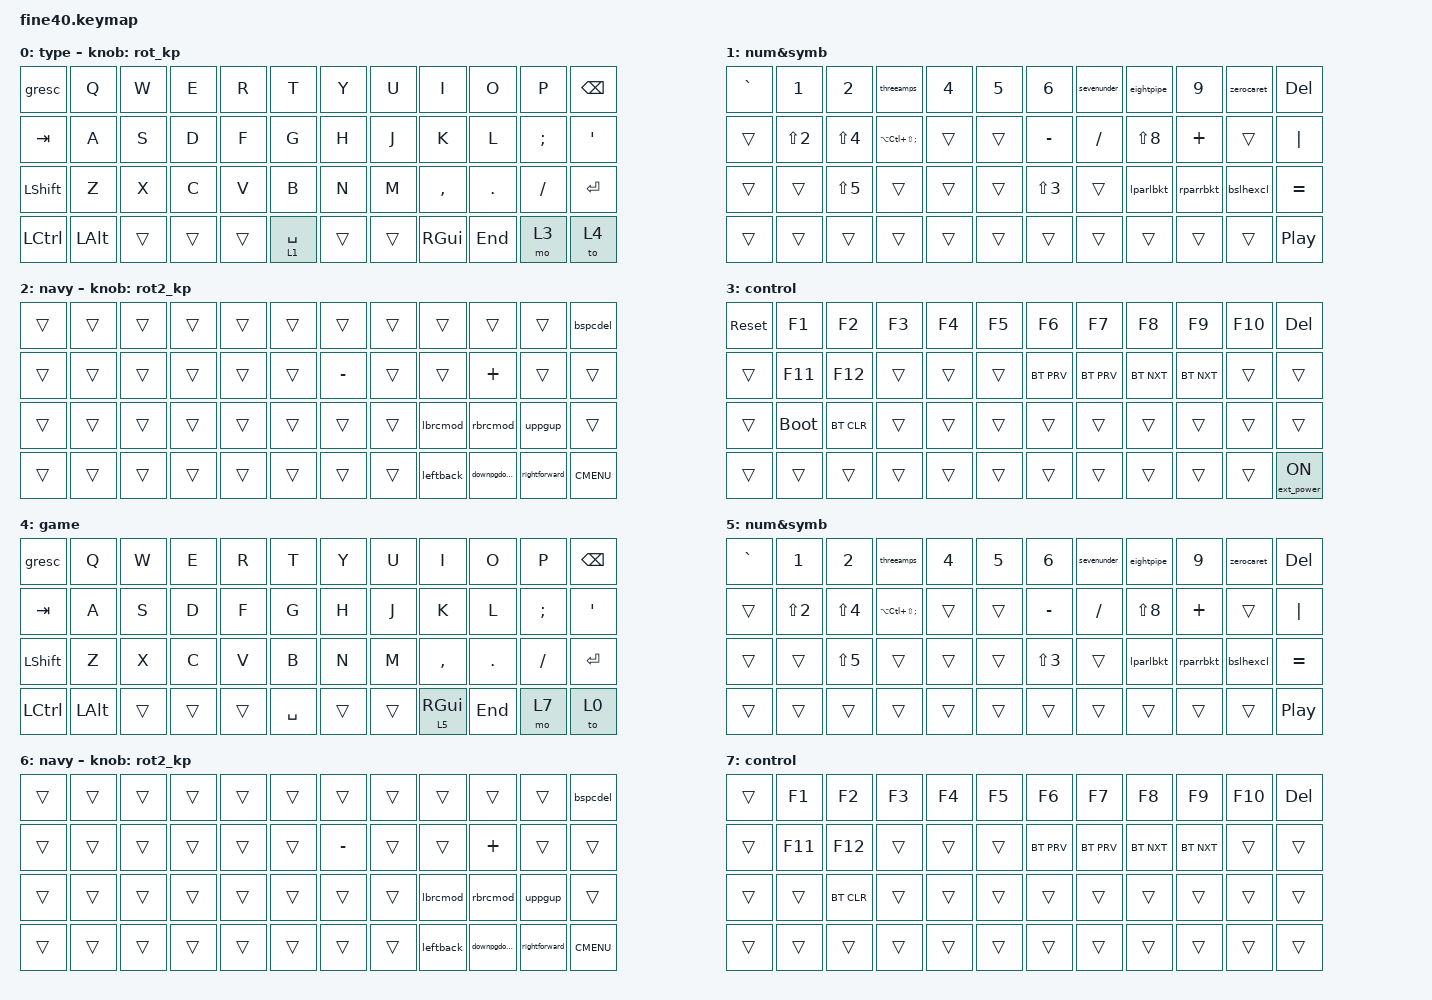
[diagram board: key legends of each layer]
/*
 * Aidan Smith (2021)
 *
 * SPDX-License-Identifier: MIT
 */

#include <behaviors.dtsi>
#include <dt-bindings/zmk/keys.h>
#include <dt-bindings/zmk/bt.h>
#include <dt-bindings/zmk/ext_power.h>

/ {
    behaviors {
        gresc: grave_escape {
            compatible = "zmk,behavior-mod-morph";
            #binding-cells = <0>;
            bindings = <&kp ESC>, <&kp GRAVE>;
            mods = <(MOD_LGUI|MOD_LSFT|MOD_RGUI|MOD_RSFT)>;
        };
    };
};

/ {
    behaviors {
        leftback: left_back {
            compatible = "zmk,behavior-mod-morph";
            #binding-cells = <0>;
            bindings = <&kp LEFT>, <&kp C_AC_BACK>;
            mods = <(MOD_LCTL)>;
        };
    };
};

/ {
    behaviors {
        rightforward: right_forward {
            compatible = "zmk,behavior-mod-morph";
            #binding-cells = <0>;
            bindings = <&kp RIGHT>, <&kp C_AC_FORWARD>;
            mods = <(MOD_LCTL)>;
        };
    };
};

/ {
    behaviors {
        uppgup: up_pgup {
            compatible = "zmk,behavior-mod-morph";
            #binding-cells = <0>;
            bindings = <&kp UP>, <&kp PG_UP>;
            mods = <(MOD_LCTL)>;
        };
    };
};

/ {
    behaviors {
        downpgdown: down_pgdown {
            compatible = "zmk,behavior-mod-morph";
            #binding-cells = <0>;
            bindings = <&kp DOWN>, <&kp PG_DN>;
            mods = <(MOD_LCTL)>;
        };
    };
};

/ {
    behaviors {
        threeamps: three_amps {
            compatible = "zmk,behavior-mod-morph";
            #binding-cells = <0>;
            bindings = <&kp N3>, <&kp AMPS>;
            mods = <(MOD_LSFT)>;
        };
    };
};

/ {
    behaviors {
        sevenunder: seven_under {
            compatible = "zmk,behavior-mod-morph";
            #binding-cells = <0>;
            bindings = <&kp N7>, <&kp UNDER>;
            mods = <(MOD_LSFT)>;
        };
    };
};

/ {
    behaviors {
        eightpipe: eight_pipe {
            compatible = "zmk,behavior-mod-morph";
            #binding-cells = <0>;
            bindings = <&kp N8>, <&kp PIPE>;
            mods = <(MOD_LSFT)>;
        };
    };
};

/ {
    behaviors {
        zerocaret: zero_caret {
            compatible = "zmk,behavior-mod-morph";
            #binding-cells = <0>;
            bindings = <&kp N0>, <&kp CARET>;
            mods = <(MOD_LSFT)>;
        };
    };
};

/ {
    behaviors {
        bspcdel: bspc_del {
            compatible = "zmk,behavior-mod-morph";
            #binding-cells = <0>;
            bindings = <&kp BSPC>, <&kp DEL>;
            mods = <(MOD_LSFT)>;
        };
    };
};

/ {
    behaviors {
        lparlbkt: lpar_lbkt {
            compatible = "zmk,behavior-mod-morph";
            #binding-cells = <0>;
            bindings = <&kp LPAR>, <&kp LBKT>;
            mods = <(MOD_LSFT)>;
        };
    };
};

/ {
    behaviors {
        rparrbkt: rpar_rbkt {
            compatible = "zmk,behavior-mod-morph";
            #binding-cells = <0>;
            bindings = <&kp RPAR>, <&kp RBKT>;
            mods = <(MOD_LSFT)>;
        };
    };
};

/ {
    behaviors {
        bslhexcl: bslh_excl {
            compatible = "zmk,behavior-mod-morph";
            #binding-cells = <0>;
            bindings = <&kp BSLH>, <&kp EXCL>;
            mods = <(MOD_LSFT)>;
        };
    };
};

/ {
    behaviors {
        lbrcmod: lbrc_with_lctl {
            compatible = "zmk,behavior-mod-morph";
            #binding-cells = <0>;
            bindings = <&kp LBRC>, <&kp LBRC>;
            mods = <(MOD_LSFT|MOD_LCTL)>;
        };
    };
};

/ {
    behaviors {
        rbrcmod: rbrc_with_lctl {
            compatible = "zmk,behavior-mod-morph";
            #binding-cells = <0>;
            bindings = <&kp RBRC>, <&kp RBRC>;
            mods = <(MOD_LSFT|MOD_LCTL)>;
        };
    };
};

/ {
    behaviors {
        vldnlalstab: voldown_altshifttab {
            compatible = "zmk,behavior-mod-morph";
            #binding-cells = <0>;
            bindings = <&kp C_VOL_DN>, <&kp LS(TAB)>;
            mods = <(MOD_LALT|MOD_LCTL)>;
            keep-mods = <(MOD_LCTL)>;
        };
    };
};

/ {
    behaviors {
        vluplatab: volup_alttab {
            compatible = "zmk,behavior-mod-morph";
            #binding-cells = <0>;
            bindings = <&kp C_VOL_UP>, <&kp TAB>;
            mods = <(MOD_LALT|MOD_LCTL)>;
            keep-mods = <(MOD_LCTL)>;
        };
    };
};

/ {
    behaviors {
        vldnlalstab2: voldown_altshifttab2 {
            compatible = "zmk,behavior-mod-morph";
            #binding-cells = <0>;
            bindings = <&kp LS(TAB)>, <&kp LS(TAB)>;
            mods = <(MOD_LCTL)>;
            keep-mods = <(MOD_LCTL)>;
        };
    };
};

/ {
    behaviors {
        vluplatab2: volup_alttab2 {
            compatible = "zmk,behavior-mod-morph";
            #binding-cells = <0>;
            bindings = <&kp TAB>, <&kp TAB>;
            mods = <(MOD_LCTL)>;
            keep-mods = <(MOD_LCTL)>;
        };
    };
};

// {
//    behaviors {
//        spacelayer5: space_layer5 {
//            compatible = "zmk,behavior-mod-morph";
//            #binding-cells = <0>;
//            bindings = <&kp SPACE>, <&mo 5>;
//            mods = <(MOD_LALT)>;
//        };
//    };
//};

// {
//    behaviors {
//        spacelayers: space_layer1_to_layer2 {
//            compatible = "zmk,behavior-mod-morph";
//            #binding-cells = <0>;
//            bindings = <&lt 1 SPACE>, <&mo 2>;
//            mods = <(MOD_LALT)>;
//        };
//    };
//};

// {
//    behaviors {
//        tdaltlayer6: tap_dance_alt_layer6 {
//            compatible = "zmk,behavior-tap-dance";
//            #binding-cells = <0>;
//            tapping-term-ms = <200>;
//            bindings = <&kp LALT>, <&mo 6>;
//        };
//    };
//};

/ {
    combos {
        compatible = "zmk,combos";
        combo_layer1 {
            timeout-ms = <50>;
            key-positions = <37 41>;
	    slow-release;
	    layers = <0>;
            bindings = <&mo 2>;
        };
    };
};

/ {
    combos {
        compatible = "zmk,combos";
        combo_layer5 {
            timeout-ms = <50>;
            key-positions = <37 41>;
	    slow-release;
	    layers = <4>;
            bindings = <&mo 6>;
        };
    };
};

/ {
	behaviors {
        	rot_kp: sensor_rotate_kp {
            	compatible = "zmk,behavior-sensor-rotate";
            	#sensor-binding-cells = <0>;
            	bindings = <&vldnlalstab>, <&vluplatab>;
        	};
    	};

	behaviors {
        	rot2_kp: sensor_rotate2_kp {
            	compatible = "zmk,behavior-sensor-rotate";
            	#sensor-binding-cells = <0>;
            	bindings = <&vldnlalstab2>, <&vluplatab2>;
        	};
    	};


	keymap {
		compatible = "zmk,keymap";

		default_layer_0 {
			   label = "type";
				// -----------------------------------------------------------------------------------------
				// |  ESC  |  Q   |  W   |  E   |  R   |  T   |   Y   |  U    |  I   |  O   |   P   | BSPC  |
				// |  TAB  |  A   |  S   |  D   |  F   |  G   |   H   |  J    |  K   |  L   |   ;   |  '    |
				// | SHIFT |  Z   |  X   |  C   |  V   |  B   |   N   |  M    |  ,   |  .   |   /   |  RET  |
				// | LCTL  | LGUI | LALT |  \   | LOWR | SPC  |  RAIS | LARW | DARW | UARW  |  RARW |  P/P  |

				// -----------------------------------------------------------------------------------------
				// |  ESC  |  Q   |  W   |  E   |  R   |  T   |   B   |  V    |  C   |  X   |   Z   |  LSFT |
				// |   Y   |  U   |  I   |  O   |  P   | BSPC |  ENT  |  /    |  .   |  ,   |   M   |   N   |
				// |  TAB  |  A   |  S   |  D   |  F   |  G   |  SPC  |  LOWR |  \   | LALT | LGUI  |  LCTL |
				// |   H   |  J   |  K   |  L   | SCLN | QUTE |  P/P  | RARW | UARW | DARW  |  LARW | RAISE |


			bindings = <
				&gresc    &kp Q    &kp W    &kp E    &kp R  &kp T        &kp Y  &kp U    &kp I     &kp O    &kp P     &kp BSPC
				&kp TAB	  &kp A    &kp S    &kp D    &kp F  &kp G        &kp H  &kp J    &kp K     &kp L    &kp SEMI  &kp SQT
				&kp LSHFT &kp Z    &kp X    &kp C    &kp V  &kp B        &kp N  &kp M    &kp COMMA &kp DOT  &kp FSLH  &kp RET
			     	&kp LCTL  &kp LALT &trans   &trans   &trans &lt 1 SPACE  &trans &trans   &kp RGUI  &kp END  &mo 3     &to 4
			    // 	&kp LCTL  &kp LALT &trans   &trans   &trans &spacelayers &trans &trans   &kp RGUI  &kp END  &mo 3     &to 4
			>;

			// sensor-bindings = <&inc_dec_kp C_VOL_DN C_VOL_UP>;
			sensor-bindings = <&rot_kp>;
			// sensor-bindings = <&inc_dec_kp LS(TAB) TAB>;
		};

		numsymb_1 {
			label = "num&symb";
			bindings = <
				// &kp GRAVE &kp N1 &kp N2     &kp N3 &kp N4 &kp N5 &kp N6    &kp N7    &kp N8     &kp N9     &kp N0     &kp DEL
				// &trans    &trans &trans     &trans &trans &trans &kp MINUS &kp FSLH  &kp LS(N8) &kp PLUS   &trans     &kp BSLH
				// &trans    &trans &trans     &trans &trans &trans &trans    &trans    &kp LS(N9) &kp LS(N0) &kp EXCL   &kp EQUAL
				// &trans    &trans &trans     &trans &trans &trans &trans    &trans    &trans     &trans     &trans     &kp C_PP
				&kp GRAVE &kp N1     &kp N2     &threeamps           &kp N4 &kp N5 &kp N6     &sevenunder &eightpipe &kp N9    &zerocaret &kp DEL
				&trans    &kp LS(N2) &kp LS(N4) &kp LA(LC(LS(SEMI))) &trans &trans &kp MINUS  &kp FSLH    &kp LS(N8) &kp PLUS  &trans     &kp PIPE
				&trans    &trans     &kp LS(N5) &trans               &trans &trans &kp LS(N3) &trans      &lparlbkt  &rparrbkt &bslhexcl  &kp EQUAL
				&trans    &trans     &trans     &trans               &trans &trans &trans     &trans      &trans     &trans    &trans     &kp C_PP
			>;

		};

		nav_2 {
			label = "navy";
			bindings = <
				// &kp LS(GRAVE)	&kp LS(N1)  &trans     &kp LS(N7) &trans        &trans     &trans     &kp UNDER  &trans        &trans       &kp LS(N6)     &bspcdel
				// &trans  	&kp LS(N2)  &kp LS(N4) &trans     &trans        &trans     &kp MINUS  &kp FSLH   &kp LS(N8)    &kp PLUS     &trans         &kp PIPE
				// &trans  	&trans      &kp LS(N5) &trans     &trans        &trans     &kp LS(N3) &trans     &kp LBKT      &kp RBKT     &uppgup        &kp EQUAL
				// &trans  	&trans      &trans     &trans     &trans        &trans     &trans     &trans     &leftback     &downpgdown  &rightforward  &kp K_CMENU
				&trans &trans &trans &trans &trans &trans &trans    &trans &trans    &trans      &trans        &bspcdel
				&trans &trans &trans &trans &trans &trans &kp MINUS &trans &trans    &kp PLUS    &trans        &trans
				&trans &trans &trans &trans &trans &trans &trans    &trans &lbrcmod  &rbrcmod    &uppgup       &trans
				&trans &trans &trans &trans &trans &trans &trans    &trans &leftback &downpgdown &rightforward &kp K_CMENU

			>;

			sensor-bindings = <&rot2_kp>;
		};

		control_3 {
			label = "control";
			bindings = <
				&sys_reset &kp F1       &kp F2     &kp F3     &kp F4     &kp F5  &kp F6     &kp F7     &kp F8     &kp F9     &kp F10 &kp DEL
				&trans 	   &kp F11	&kp F12    &trans     &trans     &trans  &bt BT_PRV &bt BT_PRV &bt BT_NXT &bt BT_NXT &trans  &trans
				&trans     &bootloader  &bt BT_CLR &trans     &trans     &trans  &trans     &trans     &trans     &trans     &trans  &trans
				&trans     &trans       &trans     &trans     &trans     &trans  &trans     &trans     &trans     &trans     &trans  &ext_power EP_ON
			>;
		};

		game_4 {
			label = "game";
			bindings = <
				&gresc    &kp Q        &kp W    &kp E    &kp R  &kp T        &kp Y  &kp U    &kp I      &kp O      &kp P     &kp BSPC
				&kp TAB	  &kp A        &kp S    &kp D    &kp F  &kp G        &kp H  &kp J    &kp K      &kp L      &kp SEMI  &kp SQT
				&kp LSHFT &kp Z        &kp X    &kp C    &kp V  &kp B        &kp N  &kp M    &kp COMMA  &kp DOT    &kp FSLH  &kp RET
			     	&kp LCTL  &kp LALT     &trans   &trans   &trans &kp SPACE    &trans &trans   &lt 5 RGUI &kp END    &mo 7     &to 0
			    // 	&kp LCTL  &tdaltlayer6 &trans   &trans   &trans &kp SPACE    &trans &trans   &lt 5 RGUI &kp END    &mo 7     &to 0
			    //  &kp LCTL  &kp LALT     &trans   &trans   &trans &spacelayer6 &trans &trans   &lt 5 RGUI &kp END    &mo 7     &to 0
			>;
		};

		game_numsymb_5 {
			label = "num&symb";
			bindings = <
				&kp GRAVE &kp N1     &kp N2     &threeamps           &kp N4 &kp N5 &kp N6     &sevenunder &eightpipe &kp N9    &zerocaret &kp DEL
				&trans    &kp LS(N2) &kp LS(N4) &kp LA(LC(LS(SEMI))) &trans &trans &kp MINUS  &kp FSLH    &kp LS(N8) &kp PLUS  &trans     &kp PIPE
				&trans    &trans     &kp LS(N5) &trans               &trans &trans &kp LS(N3) &trans      &lparlbkt  &rparrbkt &bslhexcl  &kp EQUAL
				&trans    &trans     &trans     &trans               &trans &trans &trans     &trans      &trans     &trans    &trans     &kp C_PP
			>;
		};

		game_nav_6 {
			label = "navy";
			bindings = <
				&trans &trans &trans &trans &trans &trans &trans    &trans &trans    &trans      &trans        &bspcdel
				&trans &trans &trans &trans &trans &trans &kp MINUS &trans &trans    &kp PLUS    &trans        &trans
				&trans &trans &trans &trans &trans &trans &trans    &trans &lbrcmod  &rbrcmod    &uppgup       &trans
				&trans &trans &trans &trans &trans &trans &trans    &trans &leftback &downpgdown &rightforward &kp K_CMENU
			>;

			sensor-bindings = <&rot2_kp>;
		};

		game_fn_7 {
			label = "control";
			bindings = <
				&trans     &kp F1       &kp F2     &kp F3     &kp F4     &kp F5  &kp F6     &kp F7     &kp F8     &kp F9     &kp F10 &kp DEL
				&trans 	   &kp F11	&kp F12    &trans     &trans     &trans  &bt BT_PRV &bt BT_PRV &bt BT_NXT &bt BT_NXT &trans  &trans
				&trans     &trans       &bt BT_CLR &trans     &trans     &trans  &trans     &trans     &trans     &trans     &trans  &trans
				&trans     &trans       &trans     &trans     &trans     &trans  &trans     &trans     &trans     &trans     &trans  &trans
			>;
		};
	};
};
